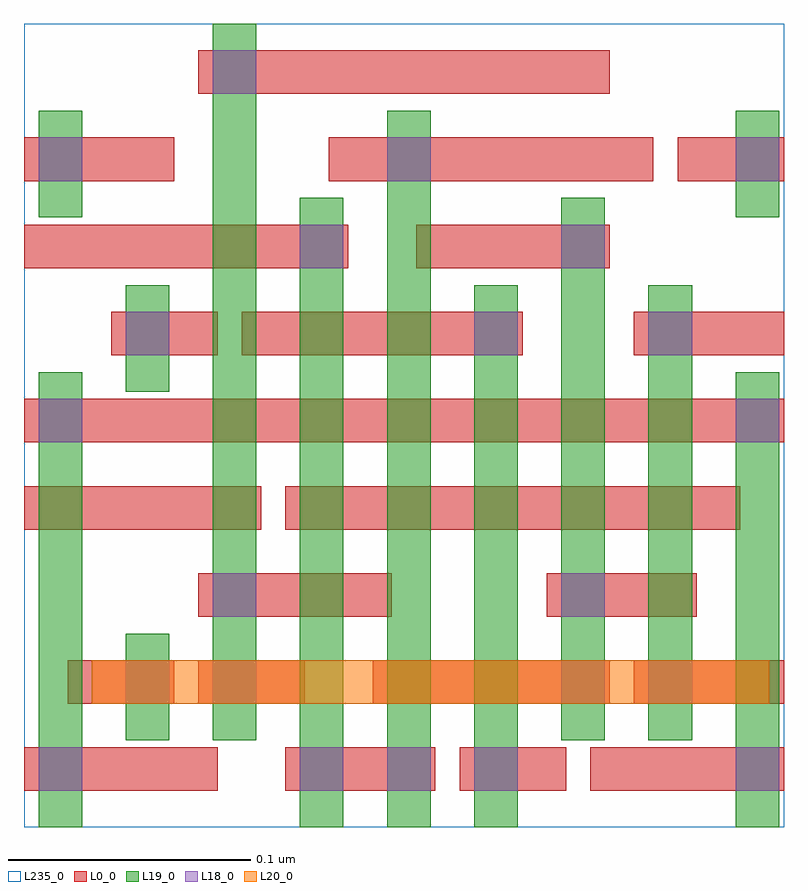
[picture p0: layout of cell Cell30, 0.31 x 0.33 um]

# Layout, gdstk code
import gdstk
lib = gdstk.Library(unit=1e-6, precision=2.5e-10)
def R(c, l, rs):  # rectangles x0, y0, x1, y1
    for r in rs: c.add(gdstk.rectangle(r[:2], r[2:], *l))
def A(c, l, x, y, w, h, nx, ny, dx, dy):  # array of equal rectangles
    R(c, l, [(x+i*dx, y+j*dy, x+i*dx+w, y+j*dy+h) for i in range(nx) for j in range(ny)])
L0_0 = (0, 0)
L18_0 = (18, 0)
L19_0 = (19, 0)
L20_0 = (20, 0)
L235_0 = (235, 0)

cell30 = lib.new_cell('Cell30')
R(cell30, L0_0, [(0.004,-0.001,0.084,0.017), (0.112,-0.001,0.174,0.017), (0.184,-0.001,0.228,0.017), (0.238,-0.001,0.318,0.017), (0.022,0.035,0.066,0.053), (0.076,0.035,0.12,0.053), (0.148,0.035,0.246,0.053), (0.256,0.035,0.318,0.053), (0.076,0.071,0.156,0.089), (0.22,0.071,0.282,0.089), (0.004,0.107,0.102,0.125), (0.112,0.107,0.3,0.125), (0.004,0.143,0.318,0.161), (0.04,0.179,0.084,0.197), (0.094,0.179,0.21,0.197), (0.256,0.179,0.318,0.197), (0.004,0.215,0.138,0.233), (0.166,0.215,0.246,0.233), (0.004,0.251,0.066,0.269), (0.13,0.251,0.264,0.269), (0.274,0.251,0.318,0.269), (0.076,0.287,0.246,0.305)])
A(cell30, L18_0, 0.118, -0.001, 0.018, 0.018, 3, 1, 0.036, 0)
A(cell30, L18_0, 0.01, 0.251, 0.018, 0.018, 3, 1, 0.144, 0)
R(cell30, L18_0, [(0.01,-0.001,0.028,0.017), (0.298,-0.001,0.316,0.017), (0.046,0.035,0.064,0.053), (0.082,0.035,0.1,0.053), (0.226,0.035,0.244,0.053), (0.262,0.035,0.28,0.053), (0.082,0.071,0.1,0.089), (0.226,0.071,0.244,0.089), (0.01,0.143,0.028,0.161), (0.298,0.143,0.316,0.161), (0.046,0.179,0.064,0.197), (0.19,0.179,0.208,0.197), (0.262,0.179,0.28,0.197), (0.118,0.215,0.136,0.233), (0.226,0.215,0.244,0.233), (0.082,0.287,0.1,0.305)])
R(cell30, L19_0, [(0.01,-0.016,0.028,0.172), (0.118,-0.016,0.136,0.244), (0.154,-0.016,0.172,0.28), (0.19,-0.016,0.208,0.208), (0.298,-0.016,0.316,0.172), (0.046,0.02,0.064,0.064), (0.082,0.02,0.1,0.316), (0.226,0.02,0.244,0.244), (0.262,0.02,0.28,0.208), (0.046,0.164,0.064,0.208), (0.01,0.236,0.028,0.28), (0.298,0.236,0.316,0.28)])
R(cell30, L20_0, [(0.032,0.035,0.312,0.053)])
R(cell30, L235_0, [(0.004,-0.016,0.318,0.316)])

lib.write_gds('Cell30.gds')
